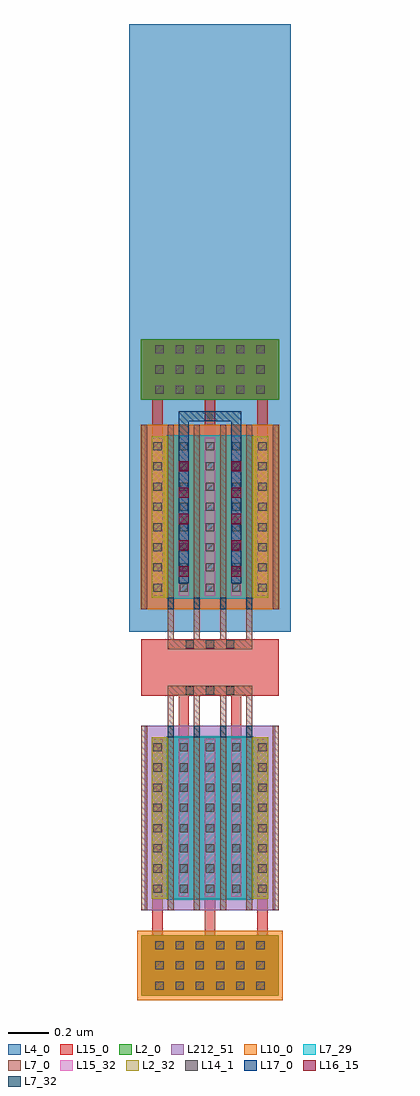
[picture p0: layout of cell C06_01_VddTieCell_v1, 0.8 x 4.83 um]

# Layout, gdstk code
import gdstk
lib = gdstk.Library(unit=1e-6, precision=1e-09)
def R(c, l, rs):  # rectangles x0, y0, x1, y1
    for r in rs: c.add(gdstk.rectangle(r[:2], r[2:], *l))
def A(c, l, x, y, w, h, nx, ny, dx, dy):  # array of equal rectangles
    R(c, l, [(x+i*dx, y+j*dy, x+i*dx+w, y+j*dy+h) for i in range(nx) for j in range(ny)])
L2_0 = (2, 0)
L2_32 = (2, 32)
L4_0 = (4, 0)
L7_0 = (7, 0)
L7_29 = (7, 29)
L7_32 = (7, 32)
L10_0 = (10, 0)
L14_1 = (14, 1)
L15_0 = (15, 0)
L15_32 = (15, 32)
L16_15 = (16, 15)
L17_0 = (17, 0)
L212_51 = (212, 51)

c06_01_vddtiecell_v1_srf = lib.new_cell('C06_01_VddTieCell_v1:SRF_TieCellNMOSRouted:SRF_Nmos:SRF_Gate_ViaM0Mx:SRF_ViaM0M1')
R(c06_01_vddtiecell_v1_srf, L7_0, [(-0.01,-0.004,0.25,0.044)])
A(c06_01_vddtiecell_v1_srf, L14_1, 0, 0, 0.04, 0.04, 3, 1, 0.1, 0)
R(c06_01_vddtiecell_v1_srf, L15_0, [(-0.021,-0.005,0.261,0.045)])

c_c06_01_vddtiecell_v1_srf = lib.new_cell('C06_01_VddTieCell_v1:SRF_TieCellNMOSRouted:SRF_Nmos:SRF_Gate_ViaM0Mx')
c_c06_01_vddtiecell_v1_srf.add(gdstk.Reference(c06_01_vddtiecell_v1_srf, (-0.12,-0.02)))

c_c06_01_vddtiecell_v1_srf_ = lib.new_cell('C06_01_VddTieCell_v1:SRF_TieCellNMOSRouted:SRF_Nmos')
R(c_c06_01_vddtiecell_v1_srf_, L2_0, [(-0.078,0.057,0.498,0.857)])
R(c_c06_01_vddtiecell_v1_srf_, L2_32, [(-0.078,0.057,0,0.857), (0.42,0.057,0.498,0.857)])
A(c_c06_01_vddtiecell_v1_srf_, L7_0, -0.13, 0, 0.03, 0.914, 6, 1, 0.13, 0)
A(c_c06_01_vddtiecell_v1_srf_, L7_0, 0, 0.914, 0.03, 0.15, 4, 1, 0.13, 0)
R(c_c06_01_vddtiecell_v1_srf_, L7_0, [(0,1.064,0.42,1.112)])
R(c_c06_01_vddtiecell_v1_srf_, L7_29, [(-0.005,0.052,0.425,0.862)])
A(c_c06_01_vddtiecell_v1_srf_, L7_32, 0, 0.857, 0.03, 0.057, 4, 1, 0.13, 0)
A(c_c06_01_vddtiecell_v1_srf_, L14_1, -0.07, 0.087, 0.04, 0.04, 5, 8, 0.13, 0.1)
R(c_c06_01_vddtiecell_v1_srf_, L15_0, [(-0.075,0.066,-0.025,0.848), (-0.075,0.066,-0.025,0.848), (0.055,0.066,0.105,0.848), (0.055,0.066,0.105,0.848), (0.185,0.066,0.235,0.848), (0.185,0.066,0.235,0.848), (0.315,0.066,0.365,0.848), (0.315,0.066,0.365,0.848), (0.445,0.066,0.495,0.848), (0.445,0.066,0.495,0.848), (0,1.063,0.42,1.113)])
A(c_c06_01_vddtiecell_v1_srf_, L15_32, -0.075, 0.066, 0.05, 0.782, 5, 1, 0.13, 0)
R(c_c06_01_vddtiecell_v1_srf_, L212_51, [(-0.113,0.001,0.533,0.913)])
c_c06_01_vddtiecell_v1_srf_.add(gdstk.Reference(c_c06_01_vddtiecell_v1_srf, (0.21,1.088)))

c_c06_01_vddtiecell_v1_srf__ = lib.new_cell('C06_01_VddTieCell_v1:SRF_TieCellNMOSRouted')
c_c06_01_vddtiecell_v1_srf__.add(gdstk.Reference(c_c06_01_vddtiecell_v1_srf_, (0,0)))

c_c06_01_vddtiecell_v1_srf___ = lib.new_cell('C06_01_VddTieCell_v1:SRF_TieCellPMOSRouted:SRF_Pmos:SRF_Drain_ViaM1M2:SRF_ViaM1M2')
R(c_c06_01_vddtiecell_v1_srf___, L15_0, [(0,-0.552,0.05,0.082)])
A(c_c06_01_vddtiecell_v1_srf___, L16_15, 0, -0.52, 0.05, 0.05, 1, 5, 0, 0.13)
R(c_c06_01_vddtiecell_v1_srf___, L17_0, [(0,-0.552,0.05,0.082)])

c_c06_01_vddtiecell_v1_srf____ = lib.new_cell('C06_01_VddTieCell_v1:SRF_TieCellPMOSRouted:SRF_Pmos:SRF_Drain_ViaM1M2')
c_c06_01_vddtiecell_v1_srf____.add(gdstk.Reference(c_c06_01_vddtiecell_v1_srf___, (-0.025,0.235)))

c_c06_01_vddtiecell_v1_srf_____ = lib.new_cell('C06_01_VddTieCell_v1:SRF_TieCellPMOSRouted:SRF_Pmos:SRF_Gate_ViaM0Mx:SRF_ViaM0M1')
R(c_c06_01_vddtiecell_v1_srf_____, L7_0, [(-0.01,-0.004,0.25,0.044)])
A(c_c06_01_vddtiecell_v1_srf_____, L14_1, 0, 0, 0.04, 0.04, 3, 1, 0.1, 0)
R(c_c06_01_vddtiecell_v1_srf_____, L15_0, [(-0.021,-0.005,0.261,0.045)])

c_c06_01_vddtiecell_v1_srf______ = lib.new_cell('C06_01_VddTieCell_v1:SRF_TieCellPMOSRouted:SRF_Pmos:SRF_Gate_ViaM0Mx')
c_c06_01_vddtiecell_v1_srf______.add(gdstk.Reference(c_c06_01_vddtiecell_v1_srf_____, (-0.12,-0.02)))

c_c06_01_vddtiecell_v1_srf_______ = lib.new_cell('C06_01_VddTieCell_v1:SRF_TieCellPMOSRouted:SRF_Pmos')
R(c_c06_01_vddtiecell_v1_srf_______, L2_0, [(-0.078,0.057,0.498,0.857)])
R(c_c06_01_vddtiecell_v1_srf_______, L2_32, [(-0.078,0.057,0,0.857), (0.42,0.057,0.498,0.857)])
A(c_c06_01_vddtiecell_v1_srf_______, L7_0, 0, -0.15, 0.03, 0.15, 4, 1, 0.13, 0)
A(c_c06_01_vddtiecell_v1_srf_______, L7_0, -0.13, 0, 0.03, 0.914, 6, 1, 0.13, 0)
R(c_c06_01_vddtiecell_v1_srf_______, L7_0, [(0,-0.198,0.42,-0.15)])
R(c_c06_01_vddtiecell_v1_srf_______, L7_29, [(-0.005,0.052,0.425,0.862)])
A(c_c06_01_vddtiecell_v1_srf_______, L7_32, 0, 0, 0.03, 0.057, 4, 1, 0.13, 0)
R(c_c06_01_vddtiecell_v1_srf_______, L10_0, [(-0.134,0.001,0.554,0.913)])
A(c_c06_01_vddtiecell_v1_srf_______, L14_1, -0.07, 0.087, 0.04, 0.04, 5, 8, 0.13, 0.1)
R(c_c06_01_vddtiecell_v1_srf_______, L15_0, [(0,-0.199,0.42,-0.149), (-0.075,0.066,-0.025,0.848), (-0.075,0.066,-0.025,0.848), (0.055,0.066,0.105,0.848), (0.055,0.066,0.105,0.848), (0.185,0.066,0.235,0.848), (0.185,0.066,0.235,0.848), (0.315,0.066,0.365,0.848), (0.315,0.066,0.365,0.848), (0.445,0.066,0.495,0.848), (0.445,0.066,0.495,0.848)])
A(c_c06_01_vddtiecell_v1_srf_______, L15_32, -0.075, 0.066, 0.05, 0.782, 5, 1, 0.13, 0)
R(c_c06_01_vddtiecell_v1_srf_______, L17_0, [(0.055,0.13,0.105,0.93), (0.315,0.13,0.365,0.93), (0.055,0.93,0.365,0.98)])
R(c_c06_01_vddtiecell_v1_srf_______, L212_51, [(-0.113,0.001,0.533,0.913)])
c_c06_01_vddtiecell_v1_srf_______.add(gdstk.Reference(c_c06_01_vddtiecell_v1_srf____, (0.08,0.447)))
c_c06_01_vddtiecell_v1_srf_______.add(gdstk.Reference(c_c06_01_vddtiecell_v1_srf____, (0.34,0.447)))
c_c06_01_vddtiecell_v1_srf_______.add(gdstk.Reference(c_c06_01_vddtiecell_v1_srf______, (0.21,-0.174)))

c_c06_01_vddtiecell_v1_srf________ = lib.new_cell('C06_01_VddTieCell_v1:SRF_TieCellPMOSRouted')
c_c06_01_vddtiecell_v1_srf________.add(gdstk.Reference(c_c06_01_vddtiecell_v1_srf_______, (0,0)))

c_c06_01_vddtiecell_v1_srf_________ = lib.new_cell('C06_01_VddTieCell_v1:SRF_PMOS_Body_Contact:SRF_NbodyContactPhyLen')
R(c_c06_01_vddtiecell_v1_srf_________, L2_0, [(-0.074,-0.23,0.614,0.07)])
R(c_c06_01_vddtiecell_v1_srf_________, L4_0, [(-0.13,-0.286,0.67,0.126)])
A(c_c06_01_vddtiecell_v1_srf_________, L14_1, 0, -0.2, 0.04, 0.04, 6, 3, 0.1, 0.1)
R(c_c06_01_vddtiecell_v1_srf_________, L15_0, [(-0.074,-0.23,0.614,0.07)])

c_c06_01_vddtiecell_v1_srf__________ = lib.new_cell('C06_01_VddTieCell_v1:SRF_PMOS_Body_Contact')
c_c06_01_vddtiecell_v1_srf__________.add(gdstk.Reference(c_c06_01_vddtiecell_v1_srf_________, (0,0)))

c_c06_01_vddtiecell_v1_srf___________ = lib.new_cell('C06_01_VddTieCell_v1:SRF_NMOS_Body_Contact:SRF_PbodyContactPhyLen')
R(c_c06_01_vddtiecell_v1_srf___________, L2_0, [(-0.07,-0.23,0.61,0.07)])
R(c_c06_01_vddtiecell_v1_srf___________, L10_0, [(-0.091,-0.251,0.631,0.091)])
A(c_c06_01_vddtiecell_v1_srf___________, L14_1, 0, -0.2, 0.04, 0.04, 6, 3, 0.1, 0.1)
R(c_c06_01_vddtiecell_v1_srf___________, L15_0, [(-0.07,-0.23,0.61,0.07)])

c_c06_01_vddtiecell_v1_srf____________ = lib.new_cell('C06_01_VddTieCell_v1:SRF_NMOS_Body_Contact')
c_c06_01_vddtiecell_v1_srf____________.add(gdstk.Reference(c_c06_01_vddtiecell_v1_srf___________, (0,0)))

c06_01_vddtiecell_v1 = lib.new_cell('C06_01_VddTieCell_v1')
R(c06_01_vddtiecell_v1, L4_0, [(-0.19,1.379,0.61,2.471), (-0.19,1.379,0.61,4.387)])
A(c06_01_vddtiecell_v1, L15_0, -0.075, -0.123, 0.05, 0.189, 3, 2, 0.26, 2.461)
R(c06_01_vddtiecell_v1, L15_0, [(0.055,0.848,0.105,1.063), (0.315,0.848,0.365,1.063)])
c06_01_vddtiecell_v1.add(gdstk.FlexPath([(0.21,1.341),(0.21,1.063)], 0.68, ends="flush", simple_path=True, layer=15, datatype=0))  # L15_0
c06_01_vddtiecell_v1.add(gdstk.Reference(c_c06_01_vddtiecell_v1_srf__, (0,0)))
c06_01_vddtiecell_v1.add(gdstk.Reference(c_c06_01_vddtiecell_v1_srf________, (0,1.49)))
c06_01_vddtiecell_v1.add(gdstk.Reference(c_c06_01_vddtiecell_v1_srf__________, (-0.06,2.757)))
c06_01_vddtiecell_v1.add(gdstk.Reference(c_c06_01_vddtiecell_v1_srf____________, (-0.06,-0.193)))

lib.write_gds('C06_01_VddTieCell_v1.gds')
